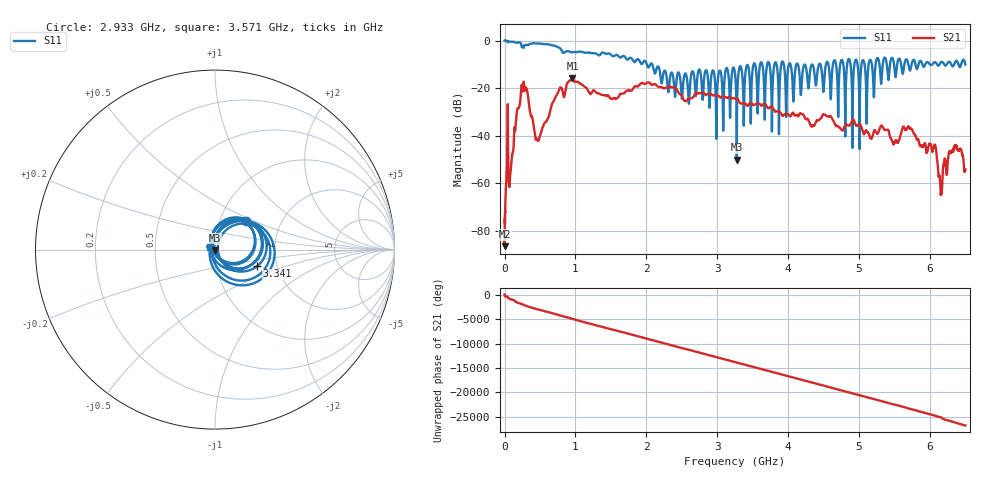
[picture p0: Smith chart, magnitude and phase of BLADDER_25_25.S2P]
!Keysight Technologies,E5063A,MY54503115,A.05.08
!Date: Sun Feb 04 18:58:56 2024
!Data & Calibration Information:
!Freq	S11:NONE(--)	S21:NONE(--)	S12:NONE(--)	S22:NONE(--)
# Hz S dB R 50
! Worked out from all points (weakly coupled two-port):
!   10001 points, 100 kHz to 6.5 GHz, reference 50 ohm
!   highest |S21| = -15.94 dB at 956.2 MHz (marker M1); lowest = -86.5 dB at 750 kHz (marker M2)
!   lowest |S11| = -50.1 dB at 3.275 GHz (marker M3), VSWR 1.01, Z = 50 - j0.313 ohm
!   |S11| at or under -10 dB: 2.082 GHz to 3.512 GHz (1.43 GHz wide, 51.1 % of centre); 4.033 GHz to 4.115 GHz (82.23 MHz wide, 2.02 % of centre); 4.137 GHz to 4.435 GHz (298.3 MHz wide, 6.96 % of centre) (the widest 3 of 30)
!   S12 and S22 are empty: the file has one direction only
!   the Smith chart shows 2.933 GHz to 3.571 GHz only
!   S11 on the Smith chart (normalised r, x): 2.933 GHz: 1.33, +0.44; 3.341 GHz: 1.58, -0.31; 3.571 GHz: 0.95, +0.03
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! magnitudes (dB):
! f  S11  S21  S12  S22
! 100 kHz  0.0  -84.1  -  -
! 750 kHz  0.0  -86.5  -  -
! 38.45 MHz  -0.2  -46.0  -  -
! 87.85 MHz  -0.5  -54.5  -  -
! 254.9 MHz  -2.3  -21.2  -  -
! 464.8 MHz  -1.2  -42.1  -  -
! 956.2 MHz  -4.9  -15.9  -  -
! 1.084 GHz  -4.7  -18.4  -  -
! 2.167 GHz  -10.9  -19.4  -  -
! 2.596 GHz  -25.7  -24.5  -  -
! 2.933 GHz  -12.6  -23.0  -  -
! 2.985 GHz  -35.5  -23.1  -  -
! 3.25 GHz  -13.9  -24.4  -  -
! 3.275 GHz  -50.1  -24.5  -  -
! 3.341 GHz  -11.9  -26.5  -  -
! 3.571 GHz  -30.2  -26.5  -  -
! 4.334 GHz  -10.1  -36.2  -  -
! 5.417 GHz  -16.3  -37.9  -  -
! 6.058 GHz  -9.2  -44.5  -  -
! 6.147 GHz  -9.4  -61.5  -  -
! 6.346 GHz  -9.6  -44.7  -  -
! 6.5 GHz  -10.1  -54.2  -  -
